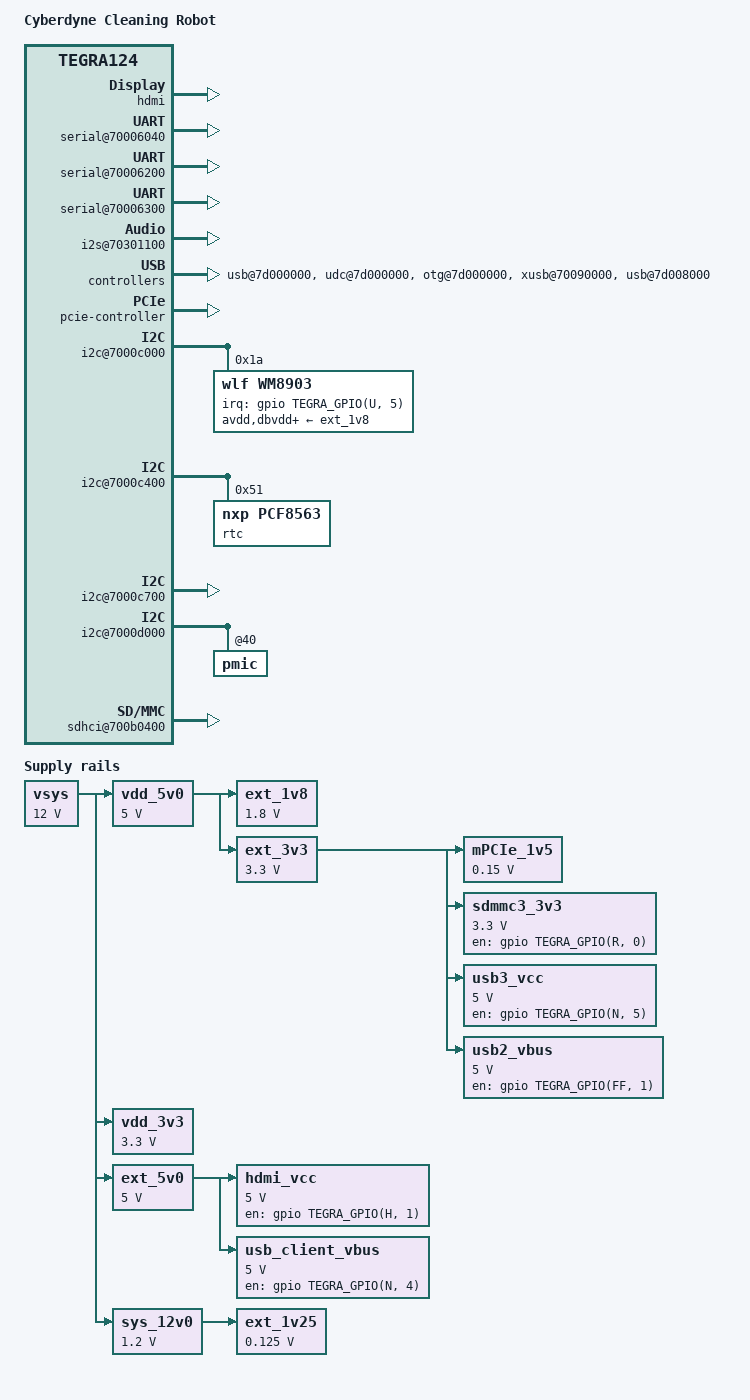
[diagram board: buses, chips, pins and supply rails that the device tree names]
/dts-v1/;

#include "tegra124-meerkat.dtsi"

/ {
	model = "Cyberdyne Cleaning Robot";
	compatible = "cyberdyne,cleaning-robot", "ad,meerkat", "nvidia,tegra124";
	nvidia,dtsfilename = __FILE__;

	aliases {
		rtc0 = "/i2c@7000c400/rtc@51";
		rtc1 = "/i2c@7000d000/pmic@40";
	};

	pinmux {
		common {
			uart3_rxd_pw7 {
				nvidia,tristate = <TEGRA_PIN_DISABLE>;
			};

			uart3_txd_pw6 {
				nvidia,tristate = <TEGRA_PIN_DISABLE>;
			};

			dap2_din_pa4 {
				nvidia,tristate = <TEGRA_PIN_DISABLE>;
			};

			dap2_dout_pa5 {
				nvidia,tristate = <TEGRA_PIN_DISABLE>;
			};

			dap2_fs_pa2 {
				nvidia,tristate = <TEGRA_PIN_DISABLE>;
			};

			dap2_sclk_pa3 {
				nvidia,tristate = <TEGRA_PIN_DISABLE>;
			};
		};
	};

	pwm-fan {
		status = "okay";
	};

	host1x {
		dc@54200000 {
			status = "okay";

			nvidia,dc-connection = "external-display";
			vdd_hdmi_5v0-supply = <&hdmi_vcc>;
		};

		hdmi {
			status = "okay";
		};
	};

	serial@70006040 {
		compatible = "nvidia,tegra114-hsuart", "nvidia,tegra30-hsuart";
		status = "okay";
	};

	serial@70006200 {
		compatible = "nvidia,tegra114-hsuart", "nvidia,tegra30-hsuart";
		status = "okay";
	};

	serial@70006300 {
		status = "okay";
	};

	ahub {
		status = "okay";

		i2s@70301100 {
			status = "okay";
		};
	};

	/* Recovery USB */
	usb@7d000000 {
		status = "okay";

		nvidia,port-otg;
		nvidia,remote-wakeup-supported;
		nvidia,power-off-on-suspend;

		usb_vbus-supply = <&usb_client_vbus>;
	};

	udc@7d000000 {
		status = "okay";

		usb_vbus-supply = <&usb_client_vbus>;
	};

	otg@7d000000 {
		status = "okay";

		usb_vbus-supply = <&usb_client_vbus>;
	};

	/* USB 3.0 */
	xusb@70090000 {
		status = "okay";

		nvidia,gpio_ss1_sata = <0>;
		nvidia,portmap = <(XUSB_MUX_USB2_P1 | XUSB_MUX_SS_P0)>;
		nvidia,ss_portmap = <XUSB_PADCTL_SS_PORTMAP(P1, DISABLE)>;
		usb_vbus1-supply = <&usb3_vcc>;
	};

	/* CAN controller */
	usb@7d008000 {
		status = "okay";

		usb_vbus-supply = <&usb2_vbus>;
	};

	pcie-controller {
		status = "okay";

		nvidia,port0_status = <1>;
		nvidia,port1_status = <1>;
		nvidia,lanes = <TEGRA_PCIE_LANES_X2_X1>;
	};

	/* GEN 1 */
	i2c@7000c000 {
		status = "okay";

		wm8903: audio-codec@1a {
			compatible = "wlf,wm8903";
			reg = <0x1a>;

			interrupt-parent = <&gpio>;
			interrupts = <TEGRA_GPIO(U, 5) IRQ_TYPE_LEVEL_HIGH>;

			avdd-supply = <&ext_1v8>;
			dbvdd-supply = <&ext_1v8>;
			cpvdd-supply = <&ext_1v8>;
			dcvdd-supply = <&ext_1v8>;

			gpio-controller;
			#gpio-cells = <2>;

			micdet-cfg = <0>;
			micdet-delay = <100>;
		};
	};

	/* GEN 2 */
	i2c@7000c400 {
		status = "okay";

		rtc@51 {
			compatible = "nxp,pcf8563";
			reg = <0x51>;
		};
	};

	/* HDMI DDC */
	i2c@7000c700 {
		status = "okay";
	};

	i2c@7000d000 {
		pmic@40 {
			pinmux@0 {
				gpio5_6 {
					pins = "gpio5", "gpio6";
					function = "gpio";
					bias-disable;
				};
			};
		};
	};

	hda@70030000 {
		status = "okay";
	};

	avp-audio {
		compatible = "nvidia,tegra124-avp-audio", "nvidia,tegra30-avp-audio";
	};

	audio-offload {
		compatible = "nvidia,tegra-offload";
	};

	sound {
		compatible = "ad,tegra-audio-wm8903-medcom-wide",
			     "nvidia,tegra-audio-wm8903";
		nvidia,model = "Avionic Design Meerkat WM8903";

		nvidia,audio-routing =
			"Headphone Jack", "HPOUTR",
			"Headphone Jack", "HPOUTL",
			"IN1R", "Mic Jack",
			"IN1L", "Mic Jack";

		nvidia,memory-clients = <SWGID_PPCS>;
		nvidia,i2s-controller = <&tegra_i2s1>;
		nvidia,i2s-is-master;
		nvidia,audio-codec = <&wm8903>;
	};

	/* SDMMC slot */
	sdhci@700b0400 {
		status = "okay";

		vddio_sd_slot-supply = <&sdmmc3_3v3>;
		wp-gpios = <>;
	};

	regulators {
		vsys: regulator@100 {
			compatible = "regulator-fixed";
			reg = <100>;
			regulator-name = "VSYS";
			regulator-min-microvolt = <12000000>;
			regulator-max-microvolt = <12000000>;
			regulator-always-on;
			regulator-boot-on;
		};

		vdd_5v0: regulator@101 {
			compatible = "regulator-fixed";
			reg = <101>;
			regulator-name = "+5V_SYS";
			regulator-min-microvolt = <5000000>;
			regulator-max-microvolt = <5000000>;
			regulator-always-on;
			regulator-boot-on;
			vin-supply = <&vsys>;
		};

		vdd_3v3: regulator@102 {
			compatible = "regulator-fixed";
			reg = <102>;
			regulator-name = "+3V3_SYS";
			regulator-min-microvolt = <3300000>;
			regulator-max-microvolt = <3300000>;
			regulator-always-on;
			regulator-boot-on;
			vin-supply = <&vsys>;
		};

		ext_5v0: regulator@103 {
			compatible = "regulator-fixed";
			reg = <103>;
			regulator-name = "+5V_EXT";
			regulator-min-microvolt = <5000000>;
			regulator-max-microvolt = <5000000>;
			regulator-always-on;
			regulator-boot-on;
			vin-supply = <&vsys>;
		};

		ext_1v8: regulator@104 {
			compatible = "regulator-fixed";
			reg = <104>;
			regulator-name = "+1V8_EXT";
			regulator-min-microvolt = <1800000>;
			regulator-max-microvolt = <1800000>;
			regulator-always-on;
			regulator-boot-on;
			vin-supply = <&vdd_5v0>;
		};

		ext_3v3: regulator@105 {
			compatible = "regulator-fixed";
			reg = <105>;
			regulator-name = "+3V3_EXT";
			regulator-min-microvolt = <3300000>;
			regulator-max-microvolt = <3300000>;
			regulator-always-on;
			regulator-boot-on;
			vin-supply = <&vdd_5v0>;
		};

		sys_12v0: regulator@106 {
			compatible = "regulator-fixed";
			reg = <106>;
			regulator-name = "+12V_SYS";
			regulator-min-microvolt = <1200000>;
			regulator-max-microvolt = <1200000>;
			regulator-always-on;
			regulator-boot-on;
			vin-supply = <&vsys>;
		};

		mPCIe_1v5: regulator@107 {
			compatible = "regulator-fixed";
			reg = <107>;
			regulator-name = "+1V5_mPCIe";
			regulator-min-microvolt = <150000>;
			regulator-max-microvolt = <150000>;
			regulator-always-on;
			regulator-boot-on;
			vin-supply = <&ext_3v3>;
		};

		ext_1v25: regulator@108 {
			compatible = "regulator-fixed";
			reg = <108>;
			regulator-name = "+1V25_EXT";
			regulator-min-microvolt = <125000>;
			regulator-max-microvolt = <125000>;
			regulator-always-on;
			regulator-boot-on;
			vin-supply = <&sys_12v0>;
		};

		sdmmc3_3v3: regulator@109 {
			compatible = "regulator-fixed";
			reg = <109>;
			regulator-name = "+3V3_SD";
			regulator-min-microvolt = <3300000>;
			regulator-max-microvolt = <3300000>;
			regulator-enable-ramp-delay = <2500>;
			gpio = <&gpio TEGRA_GPIO(R, 0) GPIO_ACTIVE_HIGH>;
			enable-active-high;
			vin-supply = <&ext_3v3>;
		};

		hdmi_vcc: regulator@110 {
			compatible = "regulator-fixed";
			reg = <110>;
			regulator-name = "HDMI_VCC";
			regulator-min-microvolt = <5000000>;
			regulator-max-microvolt = <5000000>;
			gpio = <&gpio TEGRA_GPIO(H, 1) GPIO_ACTIVE_HIGH>;
			enable-active-high;
			vin-supply = <&ext_5v0>;
		};

		usb_client_vbus: regulator@111 {
			compatible = "regulator-fixed";
			reg = <111>;
			regulator-name = "USB_CLIENT_VBUS";
			regulator-min-microvolt = <5000000>;
			regulator-max-microvolt = <5000000>;
			vin-supply = <&ext_5v0>;
			gpio = <&gpio TEGRA_GPIO(N, 4) GPIO_ACTIVE_HIGH>;
			enable-active-high;
			gpio-open-drain;
		};

		usb3_vcc: regulator@112 {
			compatible = "regulator-fixed";
			reg = <112>;
			regulator-name = "USB3_VCC";
			regulator-min-microvolt = <5000000>;
			regulator-max-microvolt = <5000000>;
			vin-supply = <&ext_3v3>;
			gpio = <&gpio TEGRA_GPIO(N, 5) GPIO_ACTIVE_HIGH>;
			enable-active-high;
			gpio-open-drain;
		};

		usb2_vbus: regulator@113 {
			compatible = "regulator-fixed";
			reg = <113>;
			regulator-name = "USB2_VBUS";
			regulator-min-microvolt = <5000000>;
			regulator-max-microvolt = <5000000>;
			vin-supply = <&ext_3v3>;
			gpio = <&gpio TEGRA_GPIO(FF, 1) GPIO_ACTIVE_HIGH>;
			enable-active-high;
			gpio-open-drain;
		};
	};
};
